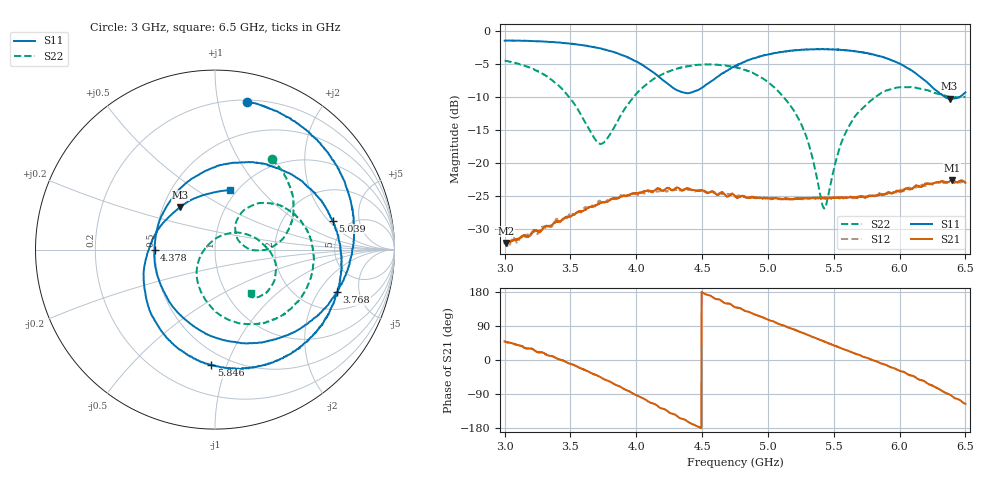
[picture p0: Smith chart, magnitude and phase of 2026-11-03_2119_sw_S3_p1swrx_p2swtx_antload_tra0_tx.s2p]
! HEWLETT PACKARD,8720ES,MY41003347,7.72, via bringup/vna_tests.py
! sw_S3_p1swrx_p2swtx_antload_tra0_tx
! measured 2026-11-03 21:19:52, 1601 points, 3000000000-6500000000 Hz, IF bandwidth 1000 Hz, source -40.00 dBm, kit CALK35MD
! board A, CTRL bits {'tr_a': 0} set before each sweep
# HZ S RI R 50
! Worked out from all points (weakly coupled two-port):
!   1601 points, 3 GHz to 6.5 GHz, reference 50 ohm
!   highest |S21| = -22.61 dB at 6.399 GHz (marker M1); lowest = -32.2 dB at 3.009 GHz (marker M2)
!   lowest |S11| = -10.3 dB at 6.38 GHz (marker M3), VSWR 1.88, Z = 30.6 + j16 ohm
!   |S11| at or under -10 dB: 6.343 GHz to 6.459 GHz (116 MHz wide, 1.81 % of centre)
!   |S22| runs from -27.0 to -4.5 dB; largest |S21 - S12| = 0.0041
!   S11 on the Smith chart (normalised r, x): 3 GHz: 0.21, +1.22; 3.768 GHz: 3.04, -2.96; 4.378 GHz: 0.50, -0.00; 5.039 GHz: 3.77, +2.23; 5.846 GHz: 0.40, -0.88; 6.5 GHz: 0.93, +0.70
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3e9  0.1805 0.8235  0.0161 0.0187  0.0163 0.0184  0.3165 0.504
3.00875e9  0.1934 0.8196  0.0165 0.0183  0.0165 0.0176  0.324 0.4946
3.286562e9  0.5955 0.5787  0.0293 0.0107  0.0308 0.0109  0.4349 0.1874
3.584062e9  0.775 0.095  0.0393 -0.0167  0.0395 -0.0162  0.2267 -0.00462
3.702188e9  0.7351 -0.1254  0.0364 -0.0311  0.0376 -0.0313  0.1372 0.042
3.767812e9  0.6779 -0.2361  0.0307 -0.0399  0.031 -0.04  0.1155 0.0909
3.993125e9  0.2989 -0.5078  -0.00155 -0.0586  -0.00277 -0.0579  0.2126 0.2476
4.168125e9  -0.0969 -0.4409  -0.0347 -0.0535  -0.0327 -0.0511  0.3865 0.2339
4.378125e9  -0.3368 -0.000412  -0.0595 -0.0224  -0.0582 -0.0212  0.5354 0.0549
4.568438e9  -0.1313 0.394  -0.0592 0.0118  -0.0595 0.0117  0.5302 -0.1669
4.75e9  0.2455 0.4825  -0.0421 0.0368  -0.0429 0.0356  0.4003 -0.3454
5.03875e9  0.6562 0.161  -0.0111 0.0525  -0.00986 0.0527  0.0495 -0.3767
5.220312e9  0.7023 -0.1322  0.0117 0.0521  0.0122 0.0518  -0.0887 -0.2086
5.334062e9  0.6564 -0.3061  0.026 0.0472  0.0253 0.0469  -0.0923 -0.0657
5.4325e9  0.5788 -0.4387  0.0367 0.0405  0.0362 0.0393  -0.0276 0.0365
5.59e9  0.39 -0.5966  0.0488 0.0245  0.0481 0.0245  0.1399 0.0932
5.845938e9  -0.0206 -0.6446  0.0575 -0.00675  0.0576 -0.00728  0.3272 -0.0479
5.918125e9  -0.1373 -0.5951  0.0564 -0.0169  0.0569 -0.0173  0.3399 -0.1114
6.17625e9  -0.3979 -0.1719  0.0392 -0.0545  0.0377 -0.0569  0.2491 -0.2611
6.379688e9  -0.1935 0.2369  -0.0011 -0.0724  -0.00226 -0.0734  0.1896 -0.2528
6.399375e9  -0.154 0.2648  -0.00726 -0.0737  -0.00867 -0.0708  0.1876 -0.2512
6.5e9  0.0828 0.3315  -0.0304 -0.0637  -0.0311 -0.0636  0.2008 -0.2439
